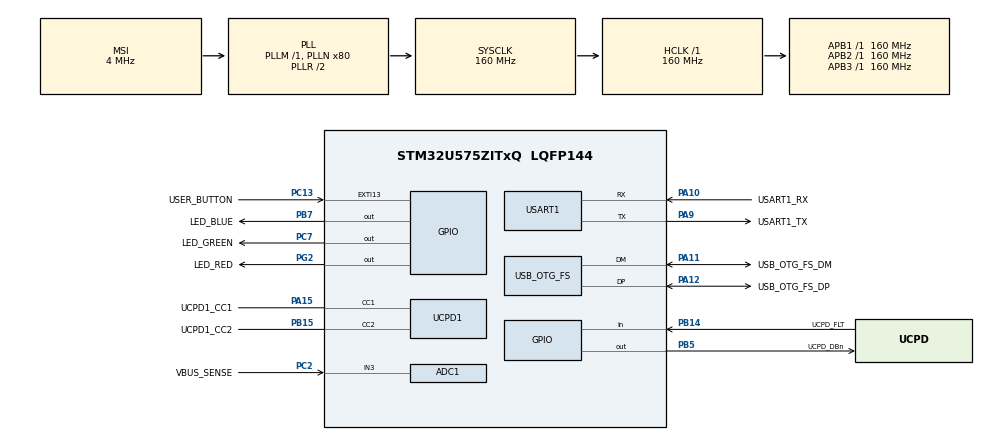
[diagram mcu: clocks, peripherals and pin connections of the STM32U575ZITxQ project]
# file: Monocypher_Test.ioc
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ADC1.NbrOfConversion=1
ADC1.Resolution=ADC_RESOLUTION_14B
ADC1.master=1
CORTEX_M33_NS.userName=CORTEX_M33
Mcu.Family=STM32U5
Mcu.Name=STM32U575ZITxQ
Mcu.Package=LQFP144
NVIC.OTG_FS_IRQn=true\:0\:0\:false\:false\:true\:true\:true\:true
NVIC.PriorityGroup=NVIC_PRIORITYGROUP_3
NVIC.USART1_IRQn=true\:0\:0\:false\:false\:true\:true\:true\:true
PA10.GPIO_Label=USART1_RX
PA10.GPIO_PuPd=GPIO_PULLDOWN
PA10.GPIO_Speed=GPIO_SPEED_FREQ_VERY_HIGH
PA10.Mode=Asynchronous
PA10.Signal=USART1_RX
PA11.GPIO_Label=USB_OTG_FS_DM
PA11.GPIO_Speed=GPIO_SPEED_FREQ_VERY_HIGH
PA11.Mode=Device_Only
PA11.Signal=USB_OTG_FS_DM
PA12.GPIO_Label=USB_OTG_FS_DP
PA12.GPIO_Speed=GPIO_SPEED_FREQ_VERY_HIGH
PA12.Mode=Device_Only
PA12.Signal=USB_OTG_FS_DP
PA13\ (JTMS/SWDIO).Mode=Trace_Asynchronous_SW
PA13\ (JTMS/SWDIO).Signal=DEBUG_JTMS-SWDIO
PA14\ (JTCK/SWCLK).Mode=Trace_Asynchronous_SW
PA14\ (JTCK/SWCLK).Signal=DEBUG_JTCK-SWCLK
PA15\ (JTDI).GPIO_Label=UCPD1_CC1
PA15\ (JTDI).Mode=Sink_AllSignals
PA15\ (JTDI).Signal=UCPD1_CC1
PA9.GPIO_Label=USART1_TX
PA9.GPIO_PuPd=GPIO_PULLDOWN
PA9.GPIO_Speed=GPIO_SPEED_FREQ_VERY_HIGH
PA9.Mode=Asynchronous
PA9.Signal=USART1_TX
PB14.GPIO_Label=UCPD_FLT
PB14.Signal=GPIO_Input
PB15.GPIO_Label=UCPD1_CC2
PB15.Mode=Sink_AllSignals
PB15.Signal=UCPD1_CC2
PB3\ (JTDO/TRACESWO).Mode=Trace_Asynchronous_SW
PB3\ (JTDO/TRACESWO).Signal=DEBUG_JTDO-SWO
PB5.GPIO_Label=UCPD_DBn
PB5.Signal=GPIO_Output
PB7.GPIO_Label=LED_BLUE
PB7.GPIO_ModeDefaultOutputPP=GPIO_MODE_OUTPUT_PP
PB7.GPIO_PuPd=GPIO_PULLUP
PB7.GPIO_Speed=GPIO_SPEED_FREQ_HIGH
PB7.Signal=GPIO_Output
PC13.GPIO_Label=USER_BUTTON
PC13.GPIO_ModeDefaultEXTI=GPIO_MODE_IT_FALLING
PC13.Signal=GPXTI13
PC14-OSC32_IN\ (PC14).Mode=LSE-External-Oscillator
PC14-OSC32_IN\ (PC14).Signal=RCC_OSC32_IN
PC15-OSC32_OUT\ (PC15).Mode=LSE-External-Oscillator
PC15-OSC32_OUT\ (PC15).Signal=RCC_OSC32_OUT
PC2.GPIO_Label=VBUS_SENSE
PC2.Mode=IN3-Single-Ended
PC2.Signal=ADC1_IN3
PC7.GPIO_Label=LED_GREEN
PC7.GPIO_PuPd=GPIO_PULLUP
PC7.GPIO_Speed=GPIO_SPEED_FREQ_HIGH
PC7.Signal=GPIO_Output
PG2.GPIO_Label=LED_RED
PG2.GPIO_ModeDefaultOutputPP=GPIO_MODE_OUTPUT_PP
PG2.GPIO_PuPd=GPIO_PULLUP
PG2.GPIO_Speed=GPIO_SPEED_FREQ_HIGH
PG2.Signal=GPIO_Output
PWR.PowerMode=PWR_SMPS_SUPPLY
ProjectManager.HeapSize=0x200
ProjectManager.StackSize=0x400
ProjectManager.TargetToolchain=STM32CubeIDE
RCC.ADCFreq_Value=16000000
RCC.AHBFreq_Value=160000000
RCC.APB1Freq_Value=160000000
RCC.APB1TimFreq_Value=160000000
RCC.APB2Freq_Value=160000000
RCC.APB2TimFreq_Value=160000000
RCC.APB3Freq_Value=160000000
RCC.CortexFreq_Value=160000000
RCC.DACCLockSelectionVirtual=RCC_DAC1CLKSOURCE_LSI
RCC.EPOD_VALUE=4000000
RCC.HCLKFreq_Value=160000000
RCC.HSE_VALUE=16000000
RCC.HSI48_VALUE=48000000
RCC.HSI_VALUE=16000000
RCC.LSIDIV_VALUE=32000
RCC.MSI_VALUE=4000000
RCC.PLLN=80
RCC.SYSCLKFreq_VALUE=160000000
RCC.SYSCLKSource=RCC_SYSCLKSOURCE_PLLCLK
RCC.USBFreq_Value=48000000
RCC.VCOOutputFreq_Value=320000000
USART1.VirtualMode-Asynchronous=VM_ASYNC
USB_OTG_FS.VirtualMode=Device_Only
VP_ICACHE_VS_ENABLE_ICACHE_MEMORY.Mode=Memoryregions
VP_ICACHE_VS_ICACHE.Mode=DirectMappedCache
VP_LPBAMQUEUE_VS_QUEUE.Mode=QUEUEMODE
VP_LPBAM_VS_SIG1.Mode=SmartRun
VP_LPBAM_VS_SIG4.Mode=LPDMA1
VP_MEMORYMAP_VS_MEMORYMAP.Mode=CurAppReg
VP_PWR_VS_DBSignals.Mode=DisableDeadBatterySignals
VP_PWR_VS_LPOM.Mode=PowerOptimisation
VP_PWR_VS_SECSignals.Mode=Security/Privilege
VP_PWR_Vdda.Mode=isolationVdda
board=NUCLEO-U575ZI-Q

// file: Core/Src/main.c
/* USER CODE BEGIN Header */
/**
  ******************************************************************************
  * @file           : main.c
  * @brief          : Main program body
  ******************************************************************************
  * @attention
  *
  * Copyright (c) 2024 STMicroelectronics.
  * All rights reserved.
  *
  * This software is licensed under terms that can be found in the LICENSE file
  * in the root directory of this software component.
  * If no LICENSE file comes with this software, it is provided AS-IS.
  *
  ******************************************************************************
  */
/* USER CODE END Header */
#include "main.h"
#include <stdio.h>
#include <stdlib.h>
#include <string.h>
#include "monocypher.h"
#include "monocypher-ed25519.h"

/* USER CODE BEGIN PD */
uint8_t rx_buffer[1];
uint8_t input_buffer[64];
uint8_t input_index = 0;
uint8_t public_key[32];
uint8_t private_key[64];
size_t public_key_len;
size_t private_key_len;
/* USER CODE END PD */

ADC_HandleTypeDef hadc1;

UART_HandleTypeDef huart1;

PCD_HandleTypeDef hpcd_USB_OTG_FS;

void SystemClock_Config(void);
static void SystemPower_Config(void);
static void MX_GPIO_Init(void);
static void MX_ADC1_Init(void);
static void MX_ICACHE_Init(void);
static void MX_UCPD1_Init(void);
static void MX_USART1_UART_Init(void);
static void MX_USB_OTG_FS_PCD_Init(void);
/* USER CODE BEGIN PFP */
void process_command(const char *buffer);
void generate_ed25519_keys(void);
void send_message(const char *msg);
/* USER CODE END PFP */

/* USER CODE BEGIN 0 */
void HAL_UART_RxCpltCallback(UART_HandleTypeDef *huart)
{
  if (huart->Instance == USART1) {
	  if (rx_buffer[0] =='\r') {
		  input_buffer[input_index] = '\0';
		  process_command((char *)input_buffer);

		  memset(input_buffer, 0, sizeof(input_buffer));
		  input_index = 0;
	  } else {
		  input_buffer[input_index++] = rx_buffer[0];
	  }
	  HAL_UART_Receive_IT(&huart1, rx_buffer, sizeof(rx_buffer));
  }
}

void process_command(const char *buffer) {
	if (strcmp(buffer, "PubKey") == 0) {
		send_message("Starting ECDSA key generation...\r\n");
		generate_ed25519_keys();
	} else {
		send_message("Unknown command\r\n");
	}

}

void generate_ed25519_keys(void) {
	uint8_t seed[32] = {0};

	// using TRNG (should I change it?)
	for (int i = 0; i < 32; i++) {
		seed[i] = rand() % 256;
	}

	// generating Ed25519 keys
	crypto_ed25519_key_pair(private_key, public_key, seed);
	public_key_len = sizeof(public_key);
	private_key_len = sizeof(private_key);

	send_message("Public key:\r\n");
	for (size_t i = 0; i < public_key_len; i++) {
		// sending as printable characters
		char hex_str[3];
		sprintf(hex_str, "%02X", public_key[i]);
		send_message(hex_str);
	}
	send_message("\r\n");

	send_message("Private key:\r\n");
	for (size_t i = 0; i < private_key_len; i++) {
		char hex_str[3];
		sprintf(hex_str, "%02X", private_key[i]);
		send_message(hex_str);
	}
	send_message("\r\n");
}

void send_message(const char *msg) {
	HAL_UART_Transmit(&huart1, (uint8_t *) msg, strlen(msg), HAL_MAX_DELAY);
}
/* USER CODE END 0 */

int main(void)
{

  /* MCU Configuration--------------------------------------------------------*/

  /* Reset of all peripherals, Initializes the Flash interface and the Systick. */
  HAL_Init();

  /* Configure the system clock */
  SystemClock_Config();

  /* Configure the System Power */
  SystemPower_Config();

  /* Initialize all configured peripherals */
  MX_GPIO_Init();
  MX_ADC1_Init();
  MX_ICACHE_Init();
  MX_UCPD1_Init();
  MX_USART1_UART_Init();
  MX_USB_OTG_FS_PCD_Init();
  /* USER CODE BEGIN 2 */
  HAL_UART_Receive_IT(&huart1, rx_buffer, sizeof(rx_buffer));

  send_message("Welcome!\r\n");
  send_message("Type PubKey to generate ECDSA keys\r\n");
  /* USER CODE END 2 */

  /* Infinite loop */
  while (1)
  {

  }
}

void SystemClock_Config(void)
{
  RCC_OscInitTypeDef RCC_OscInitStruct = {0};
  RCC_ClkInitTypeDef RCC_ClkInitStruct = {0};

  /** Configure the main internal regulator output voltage
  */
  if (HAL_PWREx_ControlVoltageScaling(PWR_REGULATOR_VOLTAGE_SCALE1) != HAL_OK)
  {
    Error_Handler();
  }

  /** Initializes the CPU, AHB and APB buses clocks
  */
  RCC_OscInitStruct.OscillatorType = RCC_OSCILLATORTYPE_HSI48|RCC_OSCILLATORTYPE_HSI
                              |RCC_OSCILLATORTYPE_MSI;
  RCC_OscInitStruct.HSIState = RCC_HSI_ON;
  RCC_OscInitStruct.HSI48State = RCC_HSI48_ON;
  RCC_OscInitStruct.HSICalibrationValue = RCC_HSICALIBRATION_DEFAULT;
  RCC_OscInitStruct.MSIState = RCC_MSI_ON;
  RCC_OscInitStruct.MSICalibrationValue = RCC_MSICALIBRATION_DEFAULT;
  RCC_OscInitStruct.MSIClockRange = RCC_MSIRANGE_4;
  RCC_OscInitStruct.PLL.PLLState = RCC_PLL_ON;
  RCC_OscInitStruct.PLL.PLLSource = RCC_PLLSOURCE_MSI;
  RCC_OscInitStruct.PLL.PLLMBOOST = RCC_PLLMBOOST_DIV1;
  RCC_OscInitStruct.PLL.PLLM = 1;
  RCC_OscInitStruct.PLL.PLLN = 80;
  RCC_OscInitStruct.PLL.PLLP = 2;
  RCC_OscInitStruct.PLL.PLLQ = 2;
  RCC_OscInitStruct.PLL.PLLR = 2;
  RCC_OscInitStruct.PLL.PLLRGE = RCC_PLLVCIRANGE_0;
  RCC_OscInitStruct.PLL.PLLFRACN = 0;
  if (HAL_RCC_OscConfig(&RCC_OscInitStruct) != HAL_OK)
  {
    Error_Handler();
  }

  /** Initializes the CPU, AHB and APB buses clocks
  */
  RCC_ClkInitStruct.ClockType = RCC_CLOCKTYPE_HCLK|RCC_CLOCKTYPE_SYSCLK
                              |RCC_CLOCKTYPE_PCLK1|RCC_CLOCKTYPE_PCLK2
                              |RCC_CLOCKTYPE_PCLK3;
  RCC_ClkInitStruct.SYSCLKSource = RCC_SYSCLKSOURCE_PLLCLK;
  RCC_ClkInitStruct.AHBCLKDivider = RCC_SYSCLK_DIV1;
  RCC_ClkInitStruct.APB1CLKDivider = RCC_HCLK_DIV1;
  RCC_ClkInitStruct.APB2CLKDivider = RCC_HCLK_DIV1;
  RCC_ClkInitStruct.APB3CLKDivider = RCC_HCLK_DIV1;

  if (HAL_RCC_ClockConfig(&RCC_ClkInitStruct, FLASH_LATENCY_4) != HAL_OK)
  {
    Error_Handler();
  }
}

/**
  * @brief Power Configuration
  * @retval None
  */
static void SystemPower_Config(void)
{
  HAL_PWREx_EnableVddIO2();

  /*
   * Switch to SMPS regulator instead of LDO
   */
  if (HAL_PWREx_ConfigSupply(PWR_SMPS_SUPPLY) != HAL_OK)
  {
    Error_Handler();
  }
}

static void MX_ADC1_Init(void)
{

  /** Common config
  */
  hadc1.Instance = ADC1;
  hadc1.Init.ClockPrescaler = ADC_CLOCK_ASYNC_DIV1;
  hadc1.Init.Resolution = ADC_RESOLUTION_14B;
  hadc1.Init.GainCompensation = 0;
  hadc1.Init.ScanConvMode = ADC_SCAN_DISABLE;
  hadc1.Init.EOCSelection = ADC_EOC_SINGLE_CONV;
  hadc1.Init.LowPowerAutoWait = DISABLE;
  hadc1.Init.ContinuousConvMode = DISABLE;
  hadc1.Init.NbrOfConversion = 1;
  hadc1.Init.DiscontinuousConvMode = DISABLE;
  hadc1.Init.DMAContinuousRequests = DISABLE;
  hadc1.Init.TriggerFrequencyMode = ADC_TRIGGER_FREQ_HIGH;
  hadc1.Init.Overrun = ADC_OVR_DATA_PRESERVED;
  hadc1.Init.LeftBitShift = ADC_LEFTBITSHIFT_NONE;
  hadc1.Init.ConversionDataManagement = ADC_CONVERSIONDATA_DR;
  hadc1.Init.OversamplingMode = DISABLE;
  if (HAL_ADC_Init(&hadc1) != HAL_OK)
  {
    Error_Handler();
  }

}

static void MX_ICACHE_Init(void)
{

  /** Enable instruction cache in 1-way (direct mapped cache)
  */
  if (HAL_ICACHE_ConfigAssociativityMode(ICACHE_1WAY) != HAL_OK)
  {
    Error_Handler();
  }
  if (HAL_ICACHE_Enable() != HAL_OK)
  {
    Error_Handler();
  }

}

static void MX_UCPD1_Init(void)
{

  LL_GPIO_InitTypeDef GPIO_InitStruct = {0};

  /* Peripheral clock enable */
  LL_APB1_GRP2_EnableClock(LL_APB1_GRP2_PERIPH_UCPD1);

  LL_AHB2_GRP1_EnableClock(LL_AHB2_GRP1_PERIPH_GPIOB);
  LL_AHB2_GRP1_EnableClock(LL_AHB2_GRP1_PERIPH_GPIOA);
  /**UCPD1 GPIO Configuration
  PB15   ------> UCPD1_CC2
  PA15 (JTDI)   ------> UCPD1_CC1
  */
  GPIO_InitStruct.Pin = LL_GPIO_PIN_15;
  GPIO_InitStruct.Mode = LL_GPIO_MODE_ANALOG;
  GPIO_InitStruct.Pull = LL_GPIO_PULL_NO;
  LL_GPIO_Init(GPIOB, &GPIO_InitStruct);

  GPIO_InitStruct.Pin = LL_GPIO_PIN_15;
  GPIO_InitStruct.Mode = LL_GPIO_MODE_ANALOG;
  GPIO_InitStruct.Pull = LL_GPIO_PULL_NO;
  LL_GPIO_Init(GPIOA, &GPIO_InitStruct);

}

static void MX_USART1_UART_Init(void)
{

  huart1.Instance = USART1;
  huart1.Init.BaudRate = 115200;
  huart1.Init.WordLength = UART_WORDLENGTH_8B;
  huart1.Init.StopBits = UART_STOPBITS_1;
  huart1.Init.Parity = UART_PARITY_NONE;
  huart1.Init.Mode = UART_MODE_TX_RX;
  huart1.Init.HwFlowCtl = UART_HWCONTROL_NONE;
  huart1.Init.OverSampling = UART_OVERSAMPLING_16;
  huart1.Init.OneBitSampling = UART_ONE_BIT_SAMPLE_DISABLE;
  huart1.Init.ClockPrescaler = UART_PRESCALER_DIV1;
  huart1.AdvancedInit.AdvFeatureInit = UART_ADVFEATURE_NO_INIT;
  if (HAL_UART_Init(&huart1) != HAL_OK)
  {
    Error_Handler();
  }
  if (HAL_UARTEx_SetTxFifoThreshold(&huart1, UART_TXFIFO_THRESHOLD_1_8) != HAL_OK)
  {
    Error_Handler();
  }
  if (HAL_UARTEx_SetRxFifoThreshold(&huart1, UART_RXFIFO_THRESHOLD_1_8) != HAL_OK)
  {
    Error_Handler();
  }
  if (HAL_UARTEx_DisableFifoMode(&huart1) != HAL_OK)
  {
    Error_Handler();
  }

}

static void MX_USB_OTG_FS_PCD_Init(void)
{

  hpcd_USB_OTG_FS.Instance = USB_OTG_FS;
  hpcd_USB_OTG_FS.Init.dev_endpoints = 6;
  hpcd_USB_OTG_FS.Init.speed = PCD_SPEED_FULL;
  hpcd_USB_OTG_FS.Init.phy_itface = PCD_PHY_EMBEDDED;
  hpcd_USB_OTG_FS.Init.Sof_enable = DISABLE;
  hpcd_USB_OTG_FS.Init.low_power_enable = DISABLE;
  hpcd_USB_OTG_FS.Init.lpm_enable = DISABLE;
  hpcd_USB_OTG_FS.Init.battery_charging_enable = DISABLE;
  hpcd_USB_OTG_FS.Init.use_dedicated_ep1 = DISABLE;
  hpcd_USB_OTG_FS.Init.vbus_sensing_enable = DISABLE;
  hpcd_USB_OTG_FS.Init.dma_enable = DISABLE;
  if (HAL_PCD_Init(&hpcd_USB_OTG_FS) != HAL_OK)
  {
    Error_Handler();
  }

}

static void MX_GPIO_Init(void)
{
  GPIO_InitTypeDef GPIO_InitStruct = {0};

  /* GPIO Ports Clock Enable */
  __HAL_RCC_GPIOC_CLK_ENABLE();
  __HAL_RCC_GPIOB_CLK_ENABLE();
  __HAL_RCC_GPIOG_CLK_ENABLE();
  __HAL_RCC_GPIOA_CLK_ENABLE();

  /*Configure GPIO pin Output Level */
  HAL_GPIO_WritePin(LED_RED_GPIO_Port, LED_RED_Pin, GPIO_PIN_RESET);

  /*Configure GPIO pin Output Level */
  HAL_GPIO_WritePin(LED_GREEN_GPIO_Port, LED_GREEN_Pin, GPIO_PIN_RESET);

  /*Configure GPIO pin Output Level */
  HAL_GPIO_WritePin(GPIOB, UCPD_DBn_Pin|LED_BLUE_Pin, GPIO_PIN_RESET);

  /*Configure GPIO pin : USER_BUTTON_Pin */
  GPIO_InitStruct.Pin = USER_BUTTON_Pin;
  GPIO_InitStruct.Mode = GPIO_MODE_IT_FALLING;
  GPIO_InitStruct.Pull = GPIO_NOPULL;
  HAL_GPIO_Init(USER_BUTTON_GPIO_Port, &GPIO_InitStruct);

  /*Configure GPIO pin : UCPD_FLT_Pin */
  GPIO_InitStruct.Pin = UCPD_FLT_Pin;
  GPIO_InitStruct.Mode = GPIO_MODE_INPUT;
  GPIO_InitStruct.Pull = GPIO_NOPULL;
  HAL_GPIO_Init(UCPD_FLT_GPIO_Port, &GPIO_InitStruct);

  /*Configure GPIO pin : LED_RED_Pin */
  GPIO_InitStruct.Pin = LED_RED_Pin;
  GPIO_InitStruct.Mode = GPIO_MODE_OUTPUT_PP;
  GPIO_InitStruct.Pull = GPIO_PULLUP;
  GPIO_InitStruct.Speed = GPIO_SPEED_FREQ_HIGH;
  HAL_GPIO_Init(LED_RED_GPIO_Port, &GPIO_InitStruct);

  /*Configure GPIO pin : LED_GREEN_Pin */
  GPIO_InitStruct.Pin = LED_GREEN_Pin;
  GPIO_InitStruct.Mode = GPIO_MODE_OUTPUT_PP;
  GPIO_InitStruct.Pull = GPIO_PULLUP;
  GPIO_InitStruct.Speed = GPIO_SPEED_FREQ_HIGH;
  HAL_GPIO_Init(LED_GREEN_GPIO_Port, &GPIO_InitStruct);

  /*Configure GPIO pin : UCPD_DBn_Pin */
  GPIO_InitStruct.Pin = UCPD_DBn_Pin;
  GPIO_InitStruct.Mode = GPIO_MODE_OUTPUT_PP;
  GPIO_InitStruct.Pull = GPIO_NOPULL;
  GPIO_InitStruct.Speed = GPIO_SPEED_FREQ_LOW;
  HAL_GPIO_Init(UCPD_DBn_GPIO_Port, &GPIO_InitStruct);

  /*Configure GPIO pin : LED_BLUE_Pin */
  GPIO_InitStruct.Pin = LED_BLUE_Pin;
  GPIO_InitStruct.Mode = GPIO_MODE_OUTPUT_PP;
  GPIO_InitStruct.Pull = GPIO_PULLUP;
  GPIO_InitStruct.Speed = GPIO_SPEED_FREQ_HIGH;
  HAL_GPIO_Init(LED_BLUE_GPIO_Port, &GPIO_InitStruct);

}

void Error_Handler(void)
{
  __disable_irq();
  while (1)
  {
  }
}
